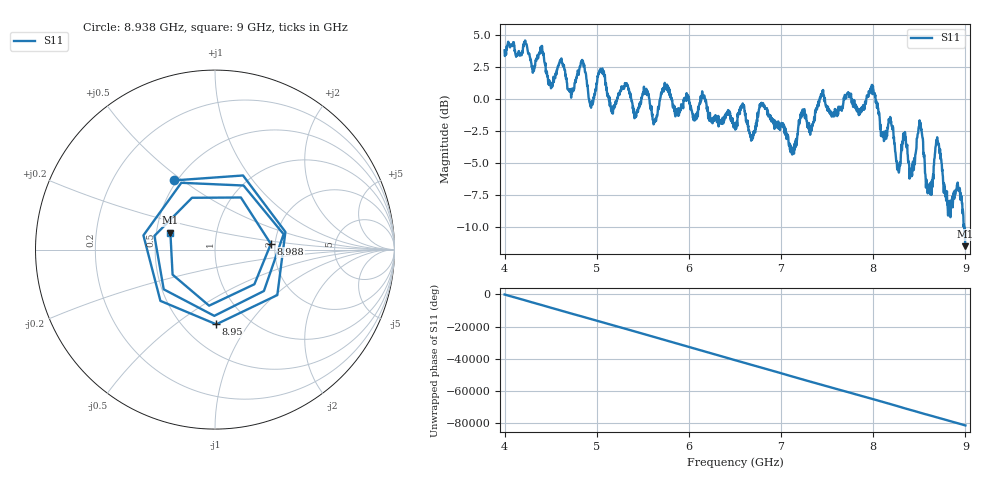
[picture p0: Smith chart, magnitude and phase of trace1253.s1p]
! Created with skrf 1.8.0 (http://scikit-rf.org).
# Hz S RI R 50.0
!freq ReS11 ImS11
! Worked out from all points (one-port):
!   1601 points, 4 GHz to 9 GHz, reference 50 ohm
!   lowest |S11| = -11.5 dB at 9 GHz (marker M1), VSWR 1.72, Z = 29.6 + j6.01 ohm
!   |S11| at or under -10 dB: 8.980968 GHz to 8.981112 GHz (143.5 kHz wide, 0.0016 % of centre); 8.986748 GHz to end of sweep
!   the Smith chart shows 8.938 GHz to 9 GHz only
!   S11 on the Smith chart (normalised r, x): 8.938 GHz: 0.48, +0.46; 8.95 GHz: 0.71, -0.72; 8.988 GHz: 1.90, +0.13; 9 GHz: 0.59, +0.12
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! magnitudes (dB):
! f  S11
! 4 GHz  3.8
! 4.4 GHz  3.9
! 4.5 GHz  1.2
! 4.625 GHz  2.8
! 4.716 GHz  0.7
! 4.85 GHz  3.0
! 4.938 GHz  -0.7
! 5.044 GHz  2.4
! 5.166 GHz  -1.1
! 5.25 GHz  0.6
! 5.875 GHz  -1.0
! 6.5 GHz  -2.3
! 6.691 GHz  -2.9
! 6.797 GHz  -0.4
! 7.125 GHz  -4.0
! 7.441 GHz  0.4
! 7.75 GHz  0.3
! 7.997 GHz  1.0
! 8.269 GHz  -5.2
! 8.375 GHz  -4.4
! 8.509 GHz  -2.2
! 8.597 GHz  -7.0
! 8.7 GHz  -3.3
! 8.816 GHz  -8.2
! 8.938 GHz  -7.0
! 8.95 GHz  -7.6
! 8.988 GHz  -10.1
! 9 GHz  -11.5
